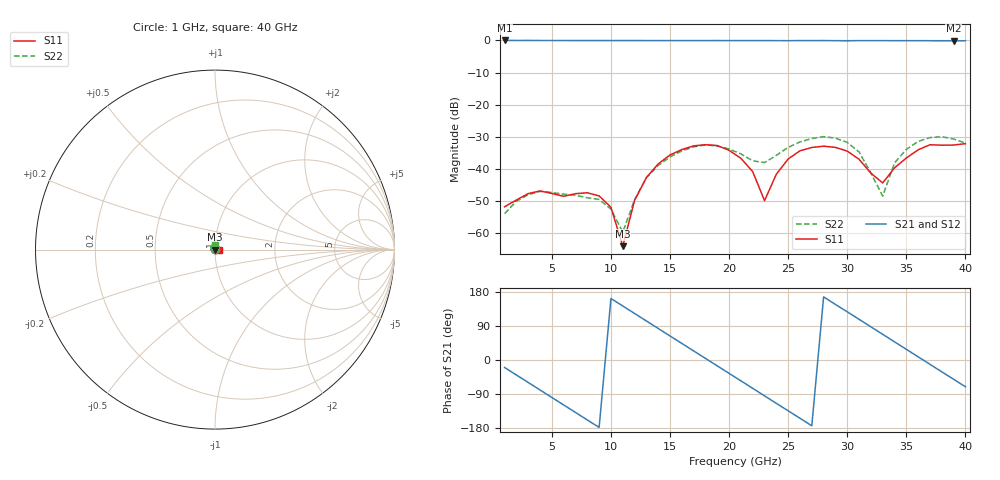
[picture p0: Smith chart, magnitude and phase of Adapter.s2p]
# MHz MA S R 50.0
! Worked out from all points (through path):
!   40 points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, 1 GHz to 40 GHz, reference 50 ohm
!   highest |S21| = 0.00 dB at 1 GHz (marker M1); lowest = -0.1 dB at 39 GHz (marker M2)
!   group delay of S21, straight-line fit = 54.9 ps
!   lowest |S11| = -64.1 dB at 11 GHz (marker M3), VSWR 1.00, Z = 50.1 - j0.0347 ohm
!   |S11| at or under -10 dB: start of sweep to end of sweep
!   |S22| runs from -59.7 to -29.9 dB; largest |S21 - S12| = 0.0046
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1000  0.002576 31.3  0.9995 -19.8  0.9992 -19.8  0.002008 30.4
3000  0.004128 36.3  0.9988 -59.3  0.9982 -59.3  0.003965 -2.5
5000  0.00415 26.2  0.9977 -98.9  0.9974 -98.9  0.004295 -65.0
8000  0.004252 37.1  0.9965 -158.2  0.996 -158.2  0.003562 179.3
10000  0.002528 18.5  0.996 162.3  0.9955 162.3  0.002369 127.2
11000  0.000627 -33.6  0.9953 142.5  0.9953 142.5  0.001033 167.7
12000  0.003231 -169.7  0.9956 122.8  0.9953 122.8  0.0033 -147.5
14000  0.01197 151.1  0.9948 83.3  0.9949 83.3  0.0113 176.6
16000  0.02001 116.9  0.9943 43.8  0.9945 43.7  0.01909 136.2
18000  0.02382 83.3  0.9943 4.2  0.994 4.3  0.02374 91.7
21000  0.01462 36.9  0.9943 -55.0  0.9941 -55.0  0.01713 10.0
22000  0.009059 26.0  0.9947 -74.8  0.9936 -74.8  0.01335 -33.5
23000  0.003206 70.1  0.9943 -94.6  0.9933 -94.6  0.01256 -90.2
25000  0.01426 109.1  0.9912 -134.0  0.9931 -134.1  0.0217 -177.9
27000  0.02156 75.6  0.9943 -173.6  0.9928 -173.6  0.02974 130.8
29000  0.02165 37.6  0.9915 146.6  0.9927 146.9  0.03014 83.9
31000  0.01413 -13.1  0.993 107.4  0.9917 107.3  0.01839 33.5
33000  0.006045 -135.5  0.9935 67.7  0.9923 67.7  0.003773 -111.0
34000  0.01038 148.7  0.9911 47.9  0.9909 48.0  0.01239 -178.7
37000  0.02378 57.9  0.9906 -11.3  0.9914 -11.3  0.03075 116.6
39000  0.02352 14.3  0.9865 -50.8  0.9871 -50.8  0.02925 85.5
40000  0.02476 -7.5  0.9896 -70.5  0.9881 -70.5  0.02521 83.9
